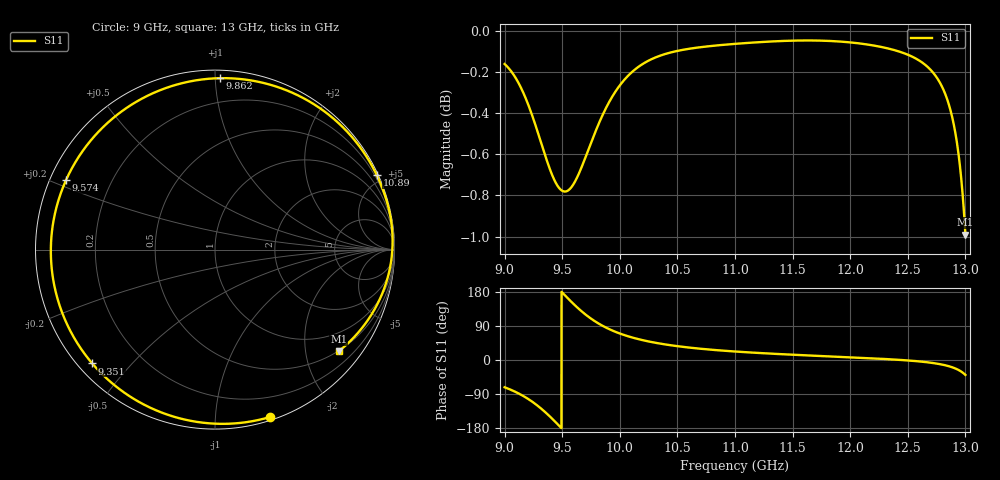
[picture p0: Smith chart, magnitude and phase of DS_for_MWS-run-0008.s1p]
! TOUCHSTONE file generated by CST DESIGN STUDIO
! Date and time: Tue Feb  4 17:22:56 2025
! Project name: C:\Work\MatlabApps\UnitCellOptimizationMatlab\CST\unitcell.cst
! Tree item: Tasks\Sweep1\SPara1\S-Parameters
! Header version: 2024
! Port assignment regex: !\s*Touchstone port\s*([0-9]+)\s*=\s*(CST MWS port|CST DES external port|CST DES block port)\s*(.+)\s* \(\"(.*)\"\)(\s*mode\s*([0-9]+))?.*
! Touchstone port assignment:
! Touchstone port 1 = CST DES external port 1 ("")
# GHz S MA R 50
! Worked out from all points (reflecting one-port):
!   4001 points, 9 GHz to 13 GHz, reference 50 ohm
!   lowest |S11| = -1.0 dB at 13 GHz (marker M1), VSWR 17.56, Z = 24.4 - j136 ohm
!   phase of S11 starts at -72 deg and turns -327 deg over the sweep
!   S11 on the Smith chart (normalised r, x): 9 GHz: 0.03, -1.38; 9.351 GHz: 0.04, -0.39; 9.574 GHz: 0.05, +0.22; 9.862 GHz: 0.05, +1.03; 10.89 GHz: 0.09, +4.57; 13 GHz: 0.49, -2.71
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9  0.9816 -72.0
9.094  0.9742 -84.1
9.203  0.9599 -102.6
9.279  0.9465 -118.8
9.351  0.9328 -137.2
9.43  0.9201 -160.1
9.465  0.9164 -170.9
9.5  0.9144 178.1
9.536  0.9141 166.8
9.574  0.9158 155.1
9.642  0.9229 135.5
9.709  0.9327 118.4
9.78  0.9439 103.0
9.862  0.9554 88.4
10  0.9699 69.9
10.101  0.9769 59.9
10.215  0.9822 51.2
10.346  0.9861 43.5
10.5  0.9888 36.5
10.895  0.9922 24.7
11  0.9927 22.4
11.5  0.9945 13.9
12  0.9935 7.1
12.5  0.9867 -1.2
12.678  0.9797 -6.3
12.81  0.9675 -12.9
12.92  0.9419 -23.3
13  0.8923 -39.4
